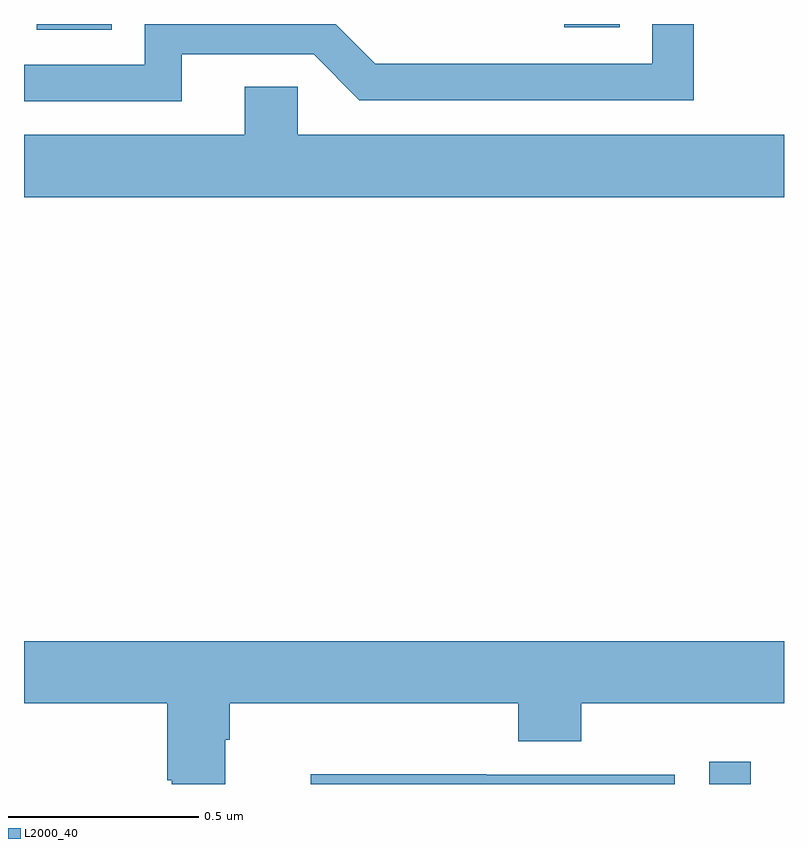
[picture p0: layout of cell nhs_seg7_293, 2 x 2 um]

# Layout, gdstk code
import gdstk
lib = gdstk.Library(unit=1e-6, precision=1e-09)
def R(c, l, rs):  # rectangles x0, y0, x1, y1
    for r in rs: c.add(gdstk.rectangle(r[:2], r[2:], *l))
def P(c, l, *ps):  # polygons
    for p in ps: c.add(gdstk.Polygon(p, *l))
L2000_40 = (2000, 40)

nhs_seg7_293 = lib.new_cell('nhs_seg7_293')
R(nhs_seg7_293, L2000_40, [(115.803,1071,115.912,1071.058), (114.033,1072.985,114.231,1073), (115.422,1072.992,115.568,1073)])
P(nhs_seg7_293, L2000_40, [(114.415,1072.92),(114.762,1072.92),(114.882,1072.8),(115.762,1072.8),(115.762,1073),(115.653,1073),(115.653,1072.896),(114.924,1072.896),(114.82,1073),(114.318,1073),(114.318,1072.893),(114,1072.893),(114,1072.797),(114.415,1072.797)],
  [(116,1072.708),(114.72,1072.708),(114.72,1072.835),(114.581,1072.835),(114.581,1072.708),(114,1072.708),(114,1072.544),(116,1072.544)],
  [(114.529,1071.116),(114.542,1071.116),(114.542,1071.212),(115.301,1071.212),(115.301,1071.113),(115.466,1071.113),(115.466,1071.212),(116,1071.212),(116,1071.376),(114,1071.376),(114,1071.212),(114.377,1071.212),(114.377,1071.01),(114.389,1071.01),(114.389,1071),(114.529,1071)],
  [(115.713,1071.024),(115.217,1071.024),(115.217,1071.026),(114.754,1071.026),(114.754,1071),(115.713,1071)])

lib.write_gds('nhs_seg7_293.gds')
